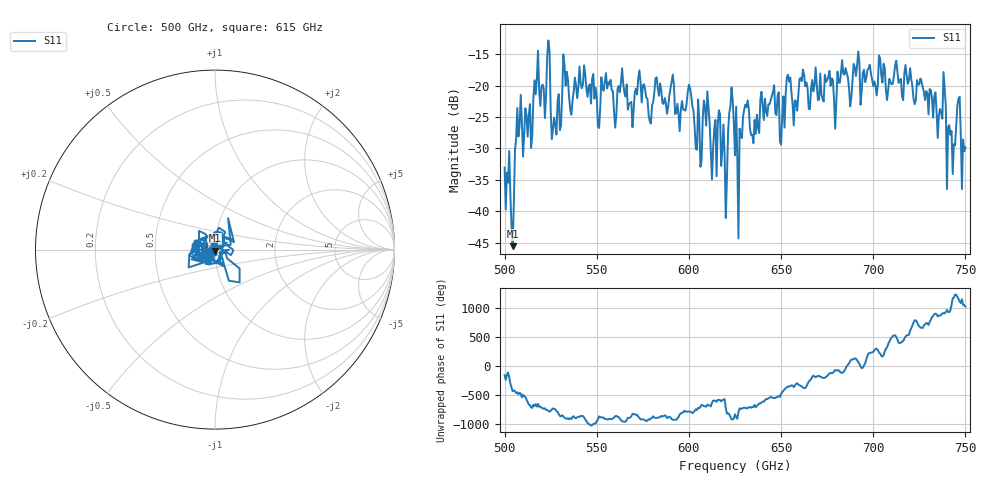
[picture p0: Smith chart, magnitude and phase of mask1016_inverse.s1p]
!Created with skrf (http://scikit-rf.org).
# GHz S MA R 50.0
!freq magS11 angS11
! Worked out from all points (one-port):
!   401 points, 500 GHz to 750 GHz, reference 50 ohm
!   lowest |S11| = -45.5 dB at 504.4 GHz (marker M1), VSWR 1.01, Z = 50.1 - j0.51 ohm
!   |S11| at or under -10 dB: start of sweep to end of sweep
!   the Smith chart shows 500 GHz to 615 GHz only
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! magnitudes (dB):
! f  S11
! 500 GHz  -33.0
! 504.4 GHz  -45.5
! 507.5 GHz  -28.1
! 513.8 GHz  -22.9
! 516.9 GHz  -21.4
! 523.8 GHz  -12.8
! 526.9 GHz  -25.1
! 531.2 GHz  -21.2
! 562.5 GHz  -21.0
! 579.4 GHz  -26.0
! 590.6 GHz  -19.4
! 593.8 GHz  -22.9
! 600.6 GHz  -20.4
! 605.6 GHz  -25.7
! 609.4 GHz  -26.4
! 619.4 GHz  -31.1
! 622.5 GHz  -23.3
! 625 GHz  -31.1
! 627.5 GHz  -26.8
! 631.2 GHz  -23.4
! 635 GHz  -29.2
! 656.2 GHz  -22.9
! 687.5 GHz  -23.3
! 718.8 GHz  -19.7
! 738.1 GHz  -17.8
! 743.1 GHz  -34.1
! 746.2 GHz  -22.1
! 750 GHz  -29.8
